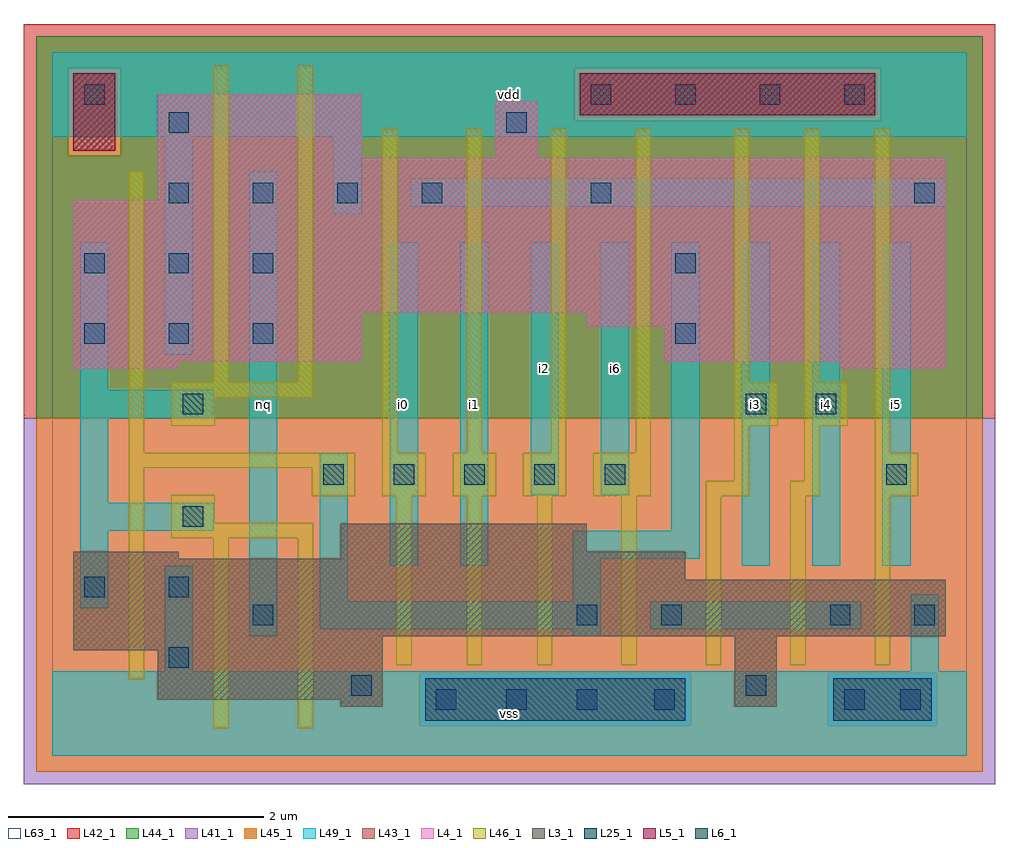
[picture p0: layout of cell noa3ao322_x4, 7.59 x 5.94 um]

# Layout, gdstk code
import gdstk
lib = gdstk.Library(unit=1e-6, precision=1e-09)
def R(c, l, rs):  # rectangles x0, y0, x1, y1
    for r in rs: c.add(gdstk.rectangle(r[:2], r[2:], *l))
def A(c, l, x, y, w, h, nx, ny, dx, dy):  # array of equal rectangles
    R(c, l, [(x+i*dx, y+j*dy, x+i*dx+w, y+j*dy+h) for i in range(nx) for j in range(ny)])
L3_1 = (3, 1)
L4_1 = (4, 1)
L5_1 = (5, 1)
L6_1 = (6, 1)
L25_1 = (25, 1)
L41_1 = (41, 1)
L42_1 = (42, 1)
L43_1 = (43, 1)
L44_1 = (44, 1)
L45_1 = (45, 1)
L46_1 = (46, 1)
L49_1 = (49, 1)
L63_1 = (63, 1)

noa3ao322_x4 = lib.new_cell('noa3ao322_x4')
R(noa3ao322_x4, L3_1, [(2.255,0.385,2.585,0.44), (5.335,0.385,5.665,0.935), (0.825,0.44,2.585,0.825), (0.165,0.825,2.585,0.935), (0.165,0.935,6.985,1.375), (0.165,1.375,4.95,1.54), (0.165,1.54,0.99,1.595), (2.255,1.54,4.95,1.595), (2.255,1.595,4.18,1.815)])
R(noa3ao322_x4, L4_1, [(0.165,3.025,0.99,3.08), (6.16,3.025,6.985,3.08), (0.165,3.08,2.42,3.465), (4.785,3.08,6.985,3.355), (4.18,3.355,6.985,3.465), (0.165,3.465,6.985,4.345), (0.825,4.345,6.985,4.675), (0.825,4.675,2.42,5.17), (3.465,4.675,3.795,5.115)])
R(noa3ao322_x4, L5_1, [(0.165,4.73,0.495,5.335), (4.125,5.005,6.435,5.335)])
R(noa3ao322_x4, L6_1, [(2.915,0.275,4.95,0.605), (6.105,0.275,6.875,0.605)])
A(noa3ao322_x4, L25_1, 3, 0.36, 0.16, 0.16, 3, 1, 0.55, 0)
A(noa3ao322_x4, L25_1, 2.12, 2.12, 0.16, 0.16, 5, 1, 0.55, 0)
A(noa3ao322_x4, L25_1, 0.25, 3.22, 0.16, 0.16, 3, 2, 0.66, 0.55)
A(noa3ao322_x4, L25_1, 0.91, 4.32, 0.16, 0.16, 4, 1, 0.66, 0)
A(noa3ao322_x4, L25_1, 4.21, 5.09, 0.16, 0.16, 4, 1, 0.66, 0)
R(noa3ao322_x4, L25_1, [(4.705,0.36,4.865,0.52), (6.19,0.36,6.35,0.52), (6.63,0.36,6.79,0.52), (2.34,0.47,2.5,0.63), (5.42,0.47,5.58,0.63), (0.91,0.69,1.07,0.85), (1.57,1.02,1.73,1.18), (4.1,1.02,4.26,1.18), (4.76,1.02,4.92,1.18), (6.08,1.02,6.24,1.18), (6.74,1.02,6.9,1.18), (0.25,1.24,0.41,1.4), (0.91,1.24,1.07,1.4), (1.02,1.79,1.18,1.95), (6.52,2.12,6.68,2.28), (1.02,2.67,1.18,2.83), (5.42,2.67,5.58,2.83), (5.97,2.67,6.13,2.83), (4.87,3.22,5.03,3.38), (4.87,3.77,5.03,3.93), (4.21,4.32,4.37,4.48), (6.74,4.32,6.9,4.48), (0.91,4.87,1.07,5.03), (3.55,4.87,3.71,5.03), (0.25,5.09,0.41,5.25)])
R(noa3ao322_x4, L41_1, [(-0.22,-0.22,7.37,2.64)])
R(noa3ao322_x4, L42_1, [(-0.22,2.64,7.37,5.72)])
R(noa3ao322_x4, L43_1, [(2.915,0.275,4.95,0.605), (6.105,0.275,6.875,0.605), (2.255,0.385,2.585,0.44), (5.335,0.385,5.665,0.935), (0.825,0.44,2.585,0.825), (0.165,0.825,2.585,0.935), (0.165,0.935,6.985,1.375), (0.165,1.375,4.95,1.54), (0.165,1.54,0.99,1.595), (2.255,1.54,4.95,1.595), (2.255,1.595,4.18,1.815), (0.165,3.025,0.99,3.08), (6.16,3.025,6.985,3.08), (0.165,3.08,2.42,3.465), (4.785,3.08,6.985,3.355), (4.18,3.355,6.985,3.465), (0.165,3.465,6.985,4.345), (0.825,4.345,6.985,4.675), (0.825,4.675,2.42,5.17), (3.465,4.675,3.795,5.115), (0.165,4.73,0.495,5.335), (4.125,5.005,6.435,5.335)])
R(noa3ao322_x4, L44_1, [(2.875,0.235,4.99,0.645), (6.065,0.235,6.915,0.645), (-0.125,2.64,7.275,4.69), (-0.125,4.69,0.125,5.375), (0.535,4.69,7.275,4.965), (0.535,4.965,4.085,5.375), (6.475,4.965,7.275,5.375), (-0.125,5.375,7.275,5.625)])
R(noa3ao322_x4, L45_1, [(-0.125,-0.125,7.275,0.235), (-0.125,0.235,2.875,0.645), (4.99,0.235,6.065,0.645), (6.915,0.235,7.275,0.645), (-0.125,0.645,7.275,2.64), (0.125,4.69,0.535,5.375), (4.085,4.965,6.475,5.375)])
A(noa3ao322_x4, L46_1, 2.69, 0.71, 0.12, 1.32, 3, 1, 0.55, 0)
A(noa3ao322_x4, L46_1, 4.45, 0.71, 0.12, 1.32, 4, 1, 0.66, 0)
A(noa3ao322_x4, L46_1, 2.58, 2.03, 0.34, 0.34, 3, 1, 0.55, 0)
A(noa3ao322_x4, L46_1, 2.58, 2.37, 0.12, 2.53, 4, 1, 0.66, 0)
R(noa3ao322_x4, L46_1, [(1.26,0.215,1.38,1.7), (1.92,0.215,2.04,1.7), (0.6,0.6,0.72,2.25), (0.93,1.7,2.04,1.82), (0.93,1.82,1.27,2.04), (2.03,2.03,2.37,2.25), (4.23,2.03,4.68,2.37), (5.11,2.03,5.45,2.15), (5.77,2.03,6,2.15), (6.43,2.03,6.77,2.37), (5.33,2.15,5.45,2.58), (5.88,2.15,6,2.58), (0.6,2.25,2.37,2.37), (0.6,2.37,0.72,4.57), (6.43,2.37,6.55,4.9), (0.93,2.58,1.27,2.8), (5.33,2.58,5.67,2.92), (5.88,2.58,6.22,2.92), (0.93,2.8,2.04,2.92), (1.26,2.92,1.38,5.395), (1.92,2.92,2.04,5.395), (5.33,2.92,5.45,4.9), (5.88,2.92,6,4.9)])
A(noa3ao322_x4, L49_1, 5.39, 1.485, 0.22, 2.53, 3, 1, 0.55, 0)
R(noa3ao322_x4, L49_1, [(0,0,7.15,0.66), (0.88,0.66,1.1,1.485), (6.71,0.66,6.93,1.265), (1.54,0.935,1.76,4.565), (4.07,0.935,4.29,0.99), (2.09,0.99,4.29,1.21), (4.675,0.99,6.325,1.21), (0.22,1.155,0.44,1.76), (2.09,1.21,2.31,2.365), (4.07,1.21,4.29,1.54), (2.64,1.485,2.86,4.015), (3.19,1.485,3.41,4.015), (4.07,1.54,5.06,1.76), (0.22,1.76,1.265,1.98), (4.84,1.76,5.06,4.015), (0.22,1.98,0.44,2.64), (3.74,2.035,3.96,4.015), (4.29,2.035,4.51,4.015), (0.22,2.64,1.265,2.86), (0.22,2.86,0.44,4.015), (0.88,3.135,1.1,4.84), (2.2,4.235,2.42,4.84), (2.805,4.29,6.985,4.51), (0,4.84,7.15,5.5)])
R(noa3ao322_x4, L63_1, [(0,0,7.15,5.5)])
noa3ao322_x4.add(gdstk.Label('nq', (1.65,2.75), layer=49, texttype=1))
noa3ao322_x4.add(gdstk.Label('vss', (3.575,0.33), layer=49, texttype=1))
noa3ao322_x4.add(gdstk.Label('i0', (2.75,2.75), layer=49, texttype=1))
noa3ao322_x4.add(gdstk.Label('i2', (3.85,3.025), layer=49, texttype=1))
noa3ao322_x4.add(gdstk.Label('i1', (3.3,2.75), layer=49, texttype=1))
noa3ao322_x4.add(gdstk.Label('vdd', (3.575,5.17), layer=49, texttype=1))
noa3ao322_x4.add(gdstk.Label('i6', (4.4,3.025), layer=49, texttype=1))
noa3ao322_x4.add(gdstk.Label('i3', (5.5,2.75), layer=49, texttype=1))
noa3ao322_x4.add(gdstk.Label('i5', (6.6,2.75), layer=49, texttype=1))
noa3ao322_x4.add(gdstk.Label('i4', (6.05,2.75), layer=49, texttype=1))

lib.write_gds('noa3ao322_x4.gds')
